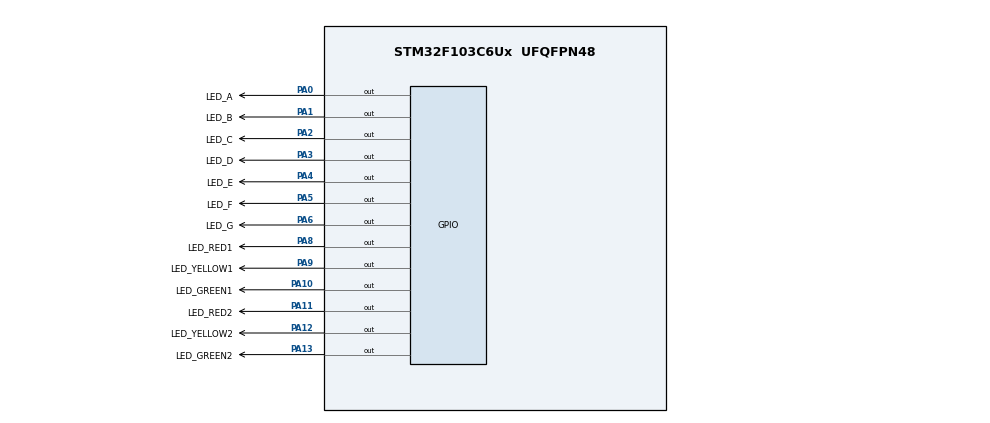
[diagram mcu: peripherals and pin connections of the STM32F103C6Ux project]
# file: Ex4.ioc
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Mcu.Family=STM32F1
Mcu.Name=STM32F103C6Ux
Mcu.Package=UFQFPN48
NVIC.PriorityGroup=NVIC_PRIORITYGROUP_4
PA0-WKUP.GPIO_Label=LED_A
PA0-WKUP.Signal=GPIO_Output
PA1.GPIO_Label=LED_B
PA1.Signal=GPIO_Output
PA10.GPIO_Label=LED_GREEN1
PA10.Signal=GPIO_Output
PA11.GPIO_Label=LED_RED2
PA11.Signal=GPIO_Output
PA12.GPIO_Label=LED_YELLOW2
PA12.Signal=GPIO_Output
PA13.GPIO_Label=LED_GREEN2
PA13.Signal=GPIO_Output
PA2.GPIO_Label=LED_C
PA2.Signal=GPIO_Output
PA3.GPIO_Label=LED_D
PA3.Signal=GPIO_Output
PA4.GPIO_Label=LED_E
PA4.Signal=GPIO_Output
PA5.GPIO_Label=LED_F
PA5.Signal=GPIO_Output
PA6.GPIO_Label=LED_G
PA6.Signal=GPIO_Output
PA8.GPIO_Label=LED_RED1
PA8.Signal=GPIO_Output
PA9.GPIO_Label=LED_YELLOW1
PA9.Signal=GPIO_Output
ProjectManager.HeapSize=0x200
ProjectManager.StackSize=0x400
ProjectManager.TargetToolchain=STM32CubeIDE
RCC.APB1Freq_Value=8000000
RCC.APB2Freq_Value=8000000
VP_SYS_VS_ND.Mode=No_Debug
board=custom

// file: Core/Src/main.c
/* USER CODE BEGIN Header */
/**
  ******************************************************************************
  * @file           : main.c
  * @brief          : Main program body
  ******************************************************************************
  * @attention
  *
  * <h2><center>&copy; Copyright (c) 2023 STMicroelectronics.
  * All rights reserved.</center></h2>
  *
  * This software component is licensed by ST under BSD 3-Clause license,
  * the "License"; You may not use this file except in compliance with the
  * License. You may obtain a copy of the License at:
  *                        opensource.org/licenses/BSD-3-Clause
  *
  ******************************************************************************
  */
/* USER CODE END Header */
#include "main.h"

void SystemClock_Config(void);
static void MX_GPIO_Init(void);

int main(void)
{

  /* MCU Configuration--------------------------------------------------------*/

  /* Reset of all peripherals, Initializes the Flash interface and the Systick. */
  HAL_Init();

  /* Configure the system clock */
  SystemClock_Config();

  /* Initialize all configured peripherals */
  MX_GPIO_Init();

  /* Infinite loop */
  /* USER CODE BEGIN WHILE */
  enum sevenSEG {
	  display0,
	  display1,
	  display2,
	  display3,
	  display4,
	  display5,
	  display6,
	  display7,
	  display8,
	  display9,
  };
  void display7SEG (int num){
	  HAL_GPIO_WritePin(LED_A_GPIO_Port, LED_A_Pin, RESET);
	  HAL_GPIO_WritePin(LED_B_GPIO_Port, LED_B_Pin, RESET);
	  HAL_GPIO_WritePin(LED_C_GPIO_Port, LED_C_Pin, RESET);
	  HAL_GPIO_WritePin(LED_D_GPIO_Port, LED_D_Pin, RESET);
	  HAL_GPIO_WritePin(LED_E_GPIO_Port, LED_E_Pin, RESET);
	  HAL_GPIO_WritePin(LED_F_GPIO_Port, LED_F_Pin, RESET);
	  HAL_GPIO_WritePin(LED_G_GPIO_Port, LED_G_Pin, RESET);  //all LEDs are on
	  switch (num){
	  case display0:
		  HAL_GPIO_WritePin(LED_G_GPIO_Port, LED_G_Pin, SET);
		  break;
	  case display1:
		  HAL_GPIO_WritePin(LED_A_GPIO_Port, LED_A_Pin, SET);
		  HAL_GPIO_WritePin(LED_D_GPIO_Port, LED_D_Pin, SET);
		  HAL_GPIO_WritePin(LED_E_GPIO_Port, LED_E_Pin, SET);
		  HAL_GPIO_WritePin(LED_F_GPIO_Port, LED_F_Pin, SET);
		  HAL_GPIO_WritePin(LED_G_GPIO_Port, LED_G_Pin, SET);
		  break;
	  case display2:
		  HAL_GPIO_WritePin(LED_C_GPIO_Port, LED_C_Pin, SET);
		  HAL_GPIO_WritePin(LED_F_GPIO_Port, LED_F_Pin, SET);
		  break;
	  case display3:
		  HAL_GPIO_WritePin(LED_E_GPIO_Port, LED_E_Pin, SET);
		  HAL_GPIO_WritePin(LED_F_GPIO_Port, LED_F_Pin, SET);
		  break;
	  case display4:
		  HAL_GPIO_WritePin(LED_A_GPIO_Port, LED_A_Pin, SET);
		  HAL_GPIO_WritePin(LED_D_GPIO_Port, LED_D_Pin, SET);
		  HAL_GPIO_WritePin(LED_E_GPIO_Port, LED_E_Pin, SET);
		  break;
	  case display5:
		  HAL_GPIO_WritePin(LED_B_GPIO_Port, LED_B_Pin, SET);
		  HAL_GPIO_WritePin(LED_E_GPIO_Port, LED_E_Pin, SET);
		  break;
	  case display6:
		  HAL_GPIO_WritePin(LED_B_GPIO_Port, LED_B_Pin, SET);
		  break;
	  case display7:
		  HAL_GPIO_WritePin(LED_E_GPIO_Port, LED_E_Pin, SET);
		  HAL_GPIO_WritePin(LED_F_GPIO_Port, LED_F_Pin, SET);
		  HAL_GPIO_WritePin(LED_G_GPIO_Port, LED_G_Pin, SET);
		  break;
	  case display8:
		  break;
	  case display9:
		  HAL_GPIO_WritePin(LED_E_GPIO_Port, LED_E_Pin, SET);
		  break;
	  }
  }
  enum trafficlightState {
	  RED1_GREEN2,
	  RED1_YELLOW2,
	  GREEN1_RED2,
	  YELLOW1_RED2,
  };
  enum trafficlightState currentState = RED1_GREEN2;
  int counter = 3, light = 0;
  while (1)
  {
	  display7SEG(light);
	  HAL_GPIO_WritePin(LED_RED1_GPIO_Port, LED_RED1_Pin, RESET);
	  HAL_GPIO_WritePin(LED_RED2_GPIO_Port, LED_RED2_Pin, RESET);
	  HAL_GPIO_WritePin(LED_YELLOW1_GPIO_Port, LED_YELLOW1_Pin, RESET);
	  HAL_GPIO_WritePin(LED_YELLOW2_GPIO_Port, LED_YELLOW2_Pin, RESET);
	  HAL_GPIO_WritePin(LED_GREEN1_GPIO_Port, LED_GREEN1_Pin, RESET);
	  HAL_GPIO_WritePin(LED_GREEN2_GPIO_Port, LED_GREEN2_Pin, RESET); //all LEDs are on
	  switch (currentState){
	  case RED1_GREEN2:
		  HAL_GPIO_WritePin(LED_RED1_GPIO_Port, LED_RED1_Pin, SET);      //turn LED_RED on
		  HAL_GPIO_WritePin(LED_GREEN2_GPIO_Port, LED_GREEN2_Pin, SET);  //turn LED_GREEN on
		  counter--;
		  light++;
		  if (counter <= 0){
			  currentState = RED1_YELLOW2;
			  counter = 2;
		  }
		  break;
	  case RED1_YELLOW2:
		  HAL_GPIO_WritePin(LED_RED1_GPIO_Port, LED_RED1_Pin, SET);
		  HAL_GPIO_WritePin(LED_YELLOW2_GPIO_Port, LED_YELLOW2_Pin, SET);
		  counter--;
		  light++;
		  if (counter <= 0){
			  currentState = GREEN1_RED2;
			  counter = 3;
			  light = 0;
		  }
		  break;
	  case GREEN1_RED2:
		  HAL_GPIO_WritePin(LED_GREEN1_GPIO_Port, LED_GREEN1_Pin, SET);
		  HAL_GPIO_WritePin(LED_RED2_GPIO_Port, LED_RED2_Pin, SET);
		  counter--;
		  light++;
		  if (counter <= 0){
			  currentState = YELLOW1_RED2;
			  counter = 2;
		  }
		  break;
	  case YELLOW1_RED2:
		  HAL_GPIO_WritePin(LED_YELLOW1_GPIO_Port, LED_YELLOW1_Pin, SET);
		  HAL_GPIO_WritePin(LED_RED2_GPIO_Port, LED_RED2_Pin, SET);
		  counter--;
		  light++;
		  if (counter <= 0){
			  currentState = RED1_GREEN2;
			  counter = 3;
			  light = 0;
		  }
	  }
	  /* if (count < 5){
		  display7SEG(count);
		  HAL_GPIO_WritePin(LED_RED1_GPIO_Port, LED_RED1_Pin, SET);
		  if (count < 3){
			  HAL_GPIO_WritePin(LED_GREEN2_GPIO_Port, LED_GREEN2_Pin, SET);
		  }
		  else {
			  HAL_GPIO_WritePin(LED_YELLOW2_GPIO_Port, LED_YELLOW2_Pin, SET);
		  }
		  count++;
	  }
	  else if (count >= 5 && count < 8){
		  display7SEG(count);
		  HAL_GPIO_WritePin(LED_GREEN1_GPIO_Port, LED_GREEN1_Pin, SET);
		  HAL_GPIO_WritePin(LED_RED2_GPIO_Port, LED_RED2_Pin, SET);
		  count++;
	  }
	  else if (count >= 8 && count < 10){
		  display7SEG(count);
		  HAL_GPIO_WritePin(LED_YELLOW1_GPIO_Port, LED_YELLOW1_Pin, SET);
		  HAL_GPIO_WritePin(LED_RED2_GPIO_Port, LED_RED2_Pin, SET);
		  count++;
	  }
	  else {
		  display7SEG(0);
		  HAL_GPIO_WritePin(LED_RED1_GPIO_Port, LED_RED1_Pin, SET);
		  HAL_GPIO_WritePin(LED_GREEN2_GPIO_Port, LED_GREEN2_Pin, SET);
		  count = 1;
	  } */
	  HAL_Delay(1000);
    /* USER CODE END WHILE */

  }
}

void SystemClock_Config(void)
{
  RCC_OscInitTypeDef RCC_OscInitStruct = {0};
  RCC_ClkInitTypeDef RCC_ClkInitStruct = {0};

  /** Initializes the RCC Oscillators according to the specified parameters
  * in the RCC_OscInitTypeDef structure.
  */
  RCC_OscInitStruct.OscillatorType = RCC_OSCILLATORTYPE_HSI;
  RCC_OscInitStruct.HSIState = RCC_HSI_ON;
  RCC_OscInitStruct.HSICalibrationValue = RCC_HSICALIBRATION_DEFAULT;
  RCC_OscInitStruct.PLL.PLLState = RCC_PLL_NONE;
  if (HAL_RCC_OscConfig(&RCC_OscInitStruct) != HAL_OK)
  {
    Error_Handler();
  }
  /** Initializes the CPU, AHB and APB buses clocks
  */
  RCC_ClkInitStruct.ClockType = RCC_CLOCKTYPE_HCLK|RCC_CLOCKTYPE_SYSCLK
                              |RCC_CLOCKTYPE_PCLK1|RCC_CLOCKTYPE_PCLK2;
  RCC_ClkInitStruct.SYSCLKSource = RCC_SYSCLKSOURCE_HSI;
  RCC_ClkInitStruct.AHBCLKDivider = RCC_SYSCLK_DIV1;
  RCC_ClkInitStruct.APB1CLKDivider = RCC_HCLK_DIV1;
  RCC_ClkInitStruct.APB2CLKDivider = RCC_HCLK_DIV1;

  if (HAL_RCC_ClockConfig(&RCC_ClkInitStruct, FLASH_LATENCY_0) != HAL_OK)
  {
    Error_Handler();
  }
}

static void MX_GPIO_Init(void)
{
  GPIO_InitTypeDef GPIO_InitStruct = {0};

  /* GPIO Ports Clock Enable */
  __HAL_RCC_GPIOA_CLK_ENABLE();

  /*Configure GPIO pin Output Level */
  HAL_GPIO_WritePin(GPIOA, LED_A_Pin|LED_B_Pin|LED_C_Pin|LED_D_Pin
                          |LED_E_Pin|LED_F_Pin|LED_G_Pin|LED_RED1_Pin
                          |LED_YELLOW1_Pin|LED_GREEN1_Pin|LED_RED2_Pin|LED_YELLOW2_Pin
                          |LED_GREEN2_Pin, GPIO_PIN_RESET);

  /*Configure GPIO pins : LED_A_Pin LED_B_Pin LED_C_Pin LED_D_Pin
                           LED_E_Pin LED_F_Pin LED_G_Pin LED_RED1_Pin
                           LED_YELLOW1_Pin LED_GREEN1_Pin LED_RED2_Pin LED_YELLOW2_Pin
                           LED_GREEN2_Pin */
  GPIO_InitStruct.Pin = LED_A_Pin|LED_B_Pin|LED_C_Pin|LED_D_Pin
                          |LED_E_Pin|LED_F_Pin|LED_G_Pin|LED_RED1_Pin
                          |LED_YELLOW1_Pin|LED_GREEN1_Pin|LED_RED2_Pin|LED_YELLOW2_Pin
                          |LED_GREEN2_Pin;
  GPIO_InitStruct.Mode = GPIO_MODE_OUTPUT_PP;
  GPIO_InitStruct.Pull = GPIO_NOPULL;
  GPIO_InitStruct.Speed = GPIO_SPEED_FREQ_LOW;
  HAL_GPIO_Init(GPIOA, &GPIO_InitStruct);

}

void Error_Handler(void)
{
  __disable_irq();
  while (1)
  {
  }
}

/************************ (C) COPYRIGHT STMicroelectronics *****END OF FILE****/
